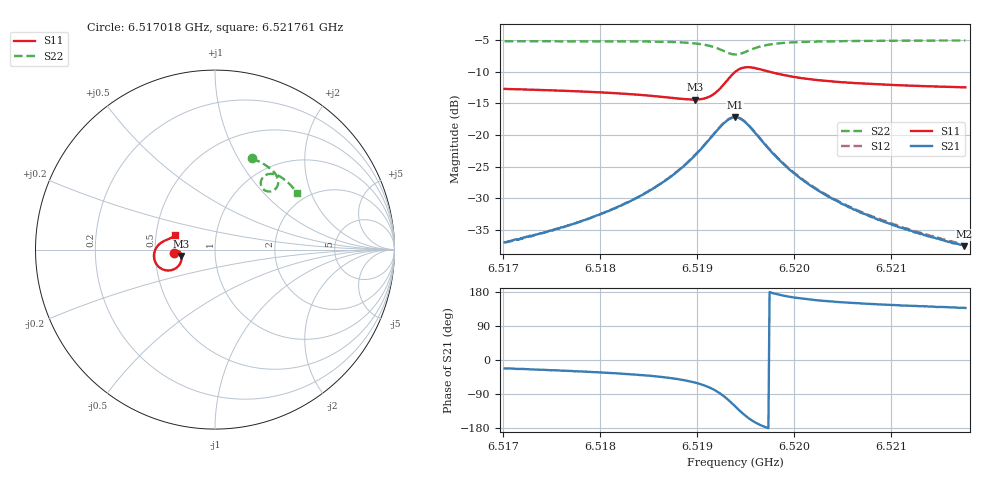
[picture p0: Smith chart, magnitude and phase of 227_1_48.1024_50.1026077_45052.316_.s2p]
#  HZ  S  RI  R  50.00
! Rohde & Schwarz Vector Network Analyzer
! Rohde-Schwarz,ZNB20-2Port,1311601062101988,3.16
! Created: UTC 12/23/2023, 3:57:22 AM
! freq[Hz]  re:S11  im:S11  re:S21  im:S21  re:S12  im:S12  re:S22  im:S22
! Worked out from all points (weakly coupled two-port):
!   401 points, 6.517018 GHz to 6.521761 GHz, reference 50 ohm
!   highest |S21| = -17.23 dB at 6.51939 GHz (marker M1); lowest = -37.5 dB at 6.521749 GHz (marker M2)
!   lowest |S11| = -14.4 dB at 6.518975 GHz (marker M3), VSWR 1.47, Z = 34.2 - j2.54 ohm
!   |S11| at or under -10 dB: start of sweep to 6.519396 GHz; 6.519737 GHz to end of sweep
!   |S22| runs from -7.3 to -5.1 dB; largest |S21 - S12| = 0.0042
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6.5170184e9  -0.2302 -0.0168  0.0132 -0.00538  0.0133 -0.00469  0.2044 0.5089
6.5174333e9  -0.2255 -0.0108  0.0154 -0.00748  0.0155 -0.00701  0.235 0.4958
6.5178127e9  -0.22 -0.00632  0.0181 -0.0105  0.0184 -0.01  0.263 0.4815
6.5182396e9  -0.2115 -0.0044  0.0228 -0.0168  0.0234 -0.0161  0.2951 0.4614
6.5186071e9  -0.2007 -0.00901  0.0289 -0.0281  0.03 -0.0274  0.3236 0.4373
6.518785e9  -0.1938 -0.017  0.0327 -0.0387  0.0342 -0.0378  0.3372 0.4207
6.5189747e9  -0.1867 -0.0357  0.035 -0.059  0.0369 -0.0583  0.3498 0.3947
6.5190814e9  -0.1868 -0.055  0.0317 -0.0779  0.0344 -0.0775  0.3521 0.3735
6.5191644e9  -0.1937 -0.0767  0.022 -0.0973  0.0251 -0.0975  0.3472 0.3529
6.5192948e9  -0.2364 -0.1126  -0.0216 -0.1258  -0.0179 -0.1274  0.3144 0.3248
6.5193897e9  -0.2939 -0.109  -0.0728 -0.1168  -0.07 -0.1197  0.2748 0.332
6.519449e9  -0.3238 -0.0846  -0.0969 -0.0923  -0.0949 -0.0957  0.2582 0.3529
6.5195082e9  -0.3384 -0.0527  -0.1061 -0.0629  -0.1051 -0.0664  0.2554 0.377
6.5196031e9  -0.3358 -0.00882  -0.0993 -0.0256  -0.0994 -0.0288  0.2694 0.4053
6.5197098e9  -0.3196 0.0207  -0.0819 -0.00315  -0.0826 -0.00565  0.2923 0.4192
6.5199351e9  -0.2886 0.0455  -0.0536 0.0116  -0.0544 0.0104  0.3314 0.4198
6.5201841e9  -0.2683 0.0549  -0.0365 0.0139  -0.0374 0.0132  0.36 0.4084
6.5205398e9  -0.2516 0.0617  -0.0242 0.0131  -0.0248 0.0125  0.3895 0.3883
6.5209785e9  -0.2389 0.0681  -0.0165 0.0113  -0.0171 0.011  0.4179 0.3623
6.5213579e9  -0.2311 0.0735  -0.0126 0.00993  -0.0131 0.00989  0.4388 0.3394
6.5217491e9  -0.2242 0.0786  -0.00985 0.0089  -0.0103 0.00892  0.4582 0.3151
6.521761e9  -0.2241 0.0788  -0.00979 0.00905  -0.0103 0.00895  0.4589 0.3143
